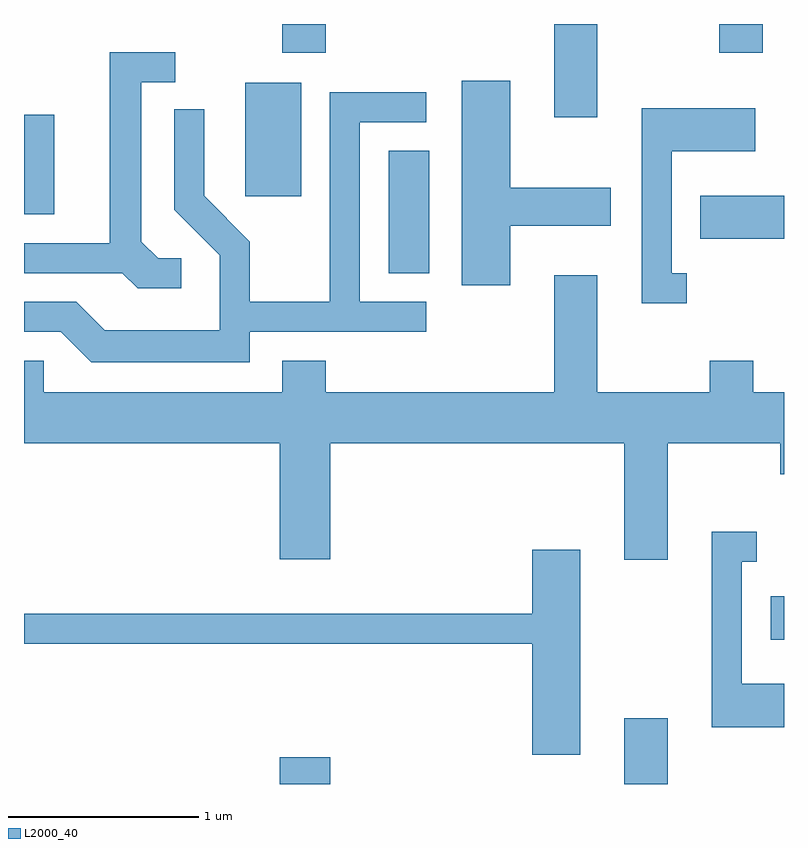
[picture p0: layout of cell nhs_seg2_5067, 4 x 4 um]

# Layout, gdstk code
import gdstk
lib = gdstk.Library(unit=1e-6, precision=1e-09)
def R(c, l, rs):  # rectangles x0, y0, x1, y1
    for r in rs: c.add(gdstk.rectangle(r[:2], r[2:], *l))
def P(c, l, *ps):  # polygons
    for p in ps: c.add(gdstk.Polygon(p, *l))
L2000_40 = (2000, 40)

nhs_seg2_5067 = lib.new_cell('nhs_seg2_5067')
R(nhs_seg2_5067, L2000_40, [(334.956,1099.802,335.224,1099.944), (336.771,1099.802,336.999,1100.149), (337.541,1100.561,337.611,1100.789), (335.531,1102.491,335.744,1103.134), (337.171,1102.671,337.611,1102.899), (333.611,1102.801,333.769,1103.324), (334.776,1102.896,335.069,1103.494), (336.401,1103.311,336.629,1103.802), (334.971,1103.651,335.199,1103.802), (337.271,1103.651,337.499,1103.802)])
P(nhs_seg2_5067, L2000_40, [(334.438,1102.569),(334.317,1102.569),(334.229,1102.657),(334.229,1103.496),(334.408,1103.496),(334.408,1103.654),(334.061,1103.654),(334.061,1102.649),(333.611,1102.649),(333.611,1102.491),(334.129,1102.491),(334.209,1102.411),(334.438,1102.411)],
  [(336.169,1102.741),(336.699,1102.741),(336.699,1102.939),(336.169,1102.939),(336.169,1103.504),(335.916,1103.504),(335.916,1102.426),(336.169,1102.426)],
  [(334.799,1102.181),(335.728,1102.181),(335.728,1102.339),(335.379,1102.339),(335.379,1103.286),(335.728,1103.286),(335.728,1103.444),(335.221,1103.444),(335.221,1102.339),(334.799,1102.339),(334.799,1102.657),(334.559,1102.897),(334.559,1103.353),(334.401,1103.353),(334.401,1102.824),(334.641,1102.584),(334.641,1102.189),(334.037,1102.189),(333.887,1102.339),(333.611,1102.339),(333.611,1102.181),(333.804,1102.181),(333.964,1102.021),(334.799,1102.021)],
  [(337.098,1102.489),(337.019,1102.489),(337.019,1103.131),(337.459,1103.131),(337.459,1103.359),(336.861,1103.359),(336.861,1102.331),(337.098,1102.331)],
  [(336.999,1101.596),(337.591,1101.596),(337.591,1101.431),(337.611,1101.431),(337.611,1101.864),(337.449,1101.864),(337.449,1102.029),(337.221,1102.029),(337.221,1101.864),(336.629,1101.864),(336.629,1102.479),(336.401,1102.479),(336.401,1101.864),(335.199,1101.864),(335.199,1102.029),(334.971,1102.029),(334.971,1101.864),(333.714,1101.864),(333.714,1102.029),(333.611,1102.029),(333.611,1101.596),(334.956,1101.596),(334.956,1100.986),(335.224,1100.986),(335.224,1101.596),(336.771,1101.596),(336.771,1100.981),(336.999,1100.981)],
  [(337.611,1100.329),(337.389,1100.329),(337.389,1100.971),(337.468,1100.971),(337.468,1101.129),(337.231,1101.129),(337.231,1100.101),(337.611,1100.101)],
  [(336.539,1101.034),(336.286,1101.034),(336.286,1100.699),(333.611,1100.699),(333.611,1100.541),(336.286,1100.541),(336.286,1099.956),(336.539,1099.956)])

lib.write_gds('nhs_seg2_5067.gds')
